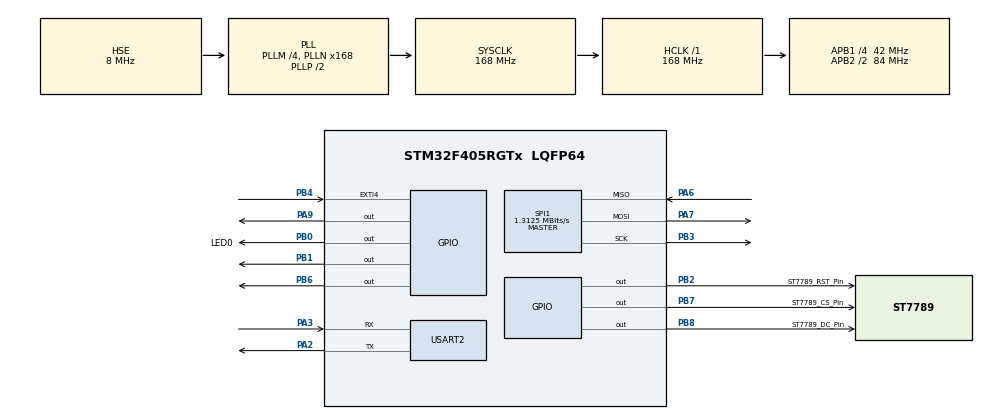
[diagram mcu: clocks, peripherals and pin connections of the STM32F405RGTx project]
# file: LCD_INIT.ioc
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ADC1.Channel-0\#ChannelRegularConversion=ADC_CHANNEL_TEMPSENSOR
ADC1.Channel-1\#ChannelRegularConversion=ADC_CHANNEL_TEMPSENSOR
ADC1.NbrOfConversion=2
ADC1.NbrOfConversionFlag=1
ADC1.Rank-0\#ChannelRegularConversion=1
ADC1.Rank-1\#ChannelRegularConversion=2
ADC1.SamplingTime-0\#ChannelRegularConversion=ADC_SAMPLETIME_84CYCLES
ADC1.SamplingTime-1\#ChannelRegularConversion=ADC_SAMPLETIME_84CYCLES
ADC1.master=1
Dma.Request0=SPI1_TX
Dma.Request1=SPI1_RX
Dma.SPI1_RX.1.Direction=DMA_PERIPH_TO_MEMORY
Dma.SPI1_RX.1.FIFOMode=DMA_FIFOMODE_DISABLE
Dma.SPI1_RX.1.Instance=DMA2_Stream0
Dma.SPI1_RX.1.MemDataAlignment=DMA_MDATAALIGN_BYTE
Dma.SPI1_RX.1.MemInc=DMA_MINC_ENABLE
Dma.SPI1_RX.1.Mode=DMA_NORMAL
Dma.SPI1_RX.1.PeriphDataAlignment=DMA_PDATAALIGN_BYTE
Dma.SPI1_RX.1.PeriphInc=DMA_PINC_DISABLE
Dma.SPI1_RX.1.Priority=DMA_PRIORITY_LOW
Dma.SPI1_TX.0.Direction=DMA_MEMORY_TO_PERIPH
Dma.SPI1_TX.0.FIFOMode=DMA_FIFOMODE_DISABLE
Dma.SPI1_TX.0.Instance=DMA2_Stream3
Dma.SPI1_TX.0.MemDataAlignment=DMA_MDATAALIGN_BYTE
Dma.SPI1_TX.0.MemInc=DMA_MINC_ENABLE
Dma.SPI1_TX.0.Mode=DMA_NORMAL
Dma.SPI1_TX.0.PeriphDataAlignment=DMA_PDATAALIGN_BYTE
Dma.SPI1_TX.0.PeriphInc=DMA_PINC_DISABLE
Dma.SPI1_TX.0.Priority=DMA_PRIORITY_LOW
FREERTOS.Tasks01=defaultTask,0,128,StartDefaultTask,Default,NULL,Dynamic,NULL,NULL;Temp,-3,128,StartTask01,Default,NULL,Dynamic,NULL,NULL;LCD,-3,128,StartTask02,Default,NULL,Dynamic,NULL,NULL;Sound,-3,128,StartTask03,Default,NULL,Dynamic,NULL,NULL
Mcu.Family=STM32F4
Mcu.Name=STM32F405RGTx
Mcu.Package=LQFP64
NVIC.DMA2_Stream0_IRQn=true\:5\:0\:false\:false\:true\:true\:false\:true\:true
NVIC.DMA2_Stream3_IRQn=true\:5\:0\:false\:false\:true\:true\:false\:true\:true
NVIC.EXTI4_IRQn=true\:5\:0\:false\:false\:true\:true\:true\:true\:true
NVIC.PriorityGroup=NVIC_PRIORITYGROUP_4
NVIC.USART2_IRQn=true\:5\:0\:false\:false\:true\:true\:true\:true\:true
PA13.Mode=Serial_Wire
PA13.Signal=SYS_JTMS-SWDIO
PA14.Mode=Serial_Wire
PA14.Signal=SYS_JTCK-SWCLK
PA2.Mode=Asynchronous
PA2.Signal=USART2_TX
PA3.Mode=Asynchronous
PA3.Signal=USART2_RX
PA6.GPIO_PuPd=GPIO_PULLUP
PA6.Mode=Full_Duplex_Master
PA6.Signal=SPI1_MISO
PA7.GPIO_PuPd=GPIO_PULLUP
PA7.Mode=Full_Duplex_Master
PA7.Signal=SPI1_MOSI
PA9.GPIO_PuPd=GPIO_PULLUP
PA9.GPIO_Speed=GPIO_SPEED_FREQ_HIGH
PA9.PinState=GPIO_PIN_SET
PA9.Signal=GPIO_Output
PB0.GPIO_Label=LED0
PB0.PinState=GPIO_PIN_RESET
PB0.Signal=GPIO_Output
PB1.PinState=GPIO_PIN_RESET
PB1.Signal=GPIO_Output
PB2.GPIO_Label=ST7789_RST_Pin
PB2.PinState=GPIO_PIN_SET
PB2.Signal=GPIO_Output
PB3.GPIO_PuPd=GPIO_PULLUP
PB3.Mode=Full_Duplex_Master
PB3.Signal=SPI1_SCK
PB4.GPIO_PuPd=GPIO_PULLUP
PB4.Signal=GPXTI4
PB6.GPIO_Speed=GPIO_SPEED_FREQ_MEDIUM
PB6.PinState=GPIO_PIN_SET
PB6.Signal=GPIO_Output
PB7.GPIO_Label=ST7789_CS_Pin
PB7.GPIO_Speed=GPIO_SPEED_FREQ_MEDIUM
PB7.PinState=GPIO_PIN_SET
PB7.Signal=GPIO_Output
PB8.GPIO_Label=ST7789_DC_Pin
PB8.Signal=GPIO_Output
PH0-OSC_IN.Mode=HSE-External-Oscillator
PH0-OSC_IN.Signal=RCC_OSC_IN
PH1-OSC_OUT.Mode=HSE-External-Oscillator
PH1-OSC_OUT.Signal=RCC_OSC_OUT
ProjectManager.HeapSize=0x2000
ProjectManager.StackSize=0x4000
ProjectManager.TargetToolchain=STM32CubeIDE
RCC.48MHZClocksFreq_Value=84000000
RCC.AHBFreq_Value=168000000
RCC.APB1CLKDivider=RCC_HCLK_DIV4
RCC.APB1Freq_Value=42000000
RCC.APB1TimFreq_Value=84000000
RCC.APB2CLKDivider=RCC_HCLK_DIV2
RCC.APB2Freq_Value=84000000
RCC.APB2TimFreq_Value=168000000
RCC.CortexFreq_Value=168000000
RCC.HCLKFreq_Value=168000000
RCC.HSE_VALUE=8000000
RCC.HSI_VALUE=16000000
RCC.LSE_VALUE=32768
RCC.PLLM=4
RCC.PLLN=168
RCC.PLLSourceVirtual=RCC_PLLSOURCE_HSE
RCC.SYSCLKFreq_VALUE=168000000
RCC.SYSCLKSource=RCC_SYSCLKSOURCE_PLLCLK
RCC.VCOOutputFreq_Value=336000000
SPI1.BaudRatePrescaler=SPI_BAUDRATEPRESCALER_64
SPI1.CLKPolarity=SPI_POLARITY_LOW
SPI1.CalculateBaudRate=1.3125 MBits/s
SPI1.DataSize=SPI_DATASIZE_8BIT
SPI1.Direction=SPI_DIRECTION_2LINES
SPI1.Mode=SPI_MODE_MASTER
SPI1.VirtualType=VM_MASTER
USART2.VirtualMode=VM_ASYNC
VP_ADC1_TempSens_Input.Mode=IN-TempSens
VP_ADC1_Vref_Input.Mode=IN-Vrefint
VP_FREERTOS_VS_CMSIS_V1.Mode=CMSIS_V1
board=custom

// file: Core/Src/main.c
/* USER CODE BEGIN Header */
/**
 ******************************************************************************
 * @file           : main.c
 * @brief          : Main program body
 ******************************************************************************
 * @attention
 *
 * Copyright (c) 2024 STMicroelectronics.
 * All rights reserved.
 *
 * This software is licensed under terms that can be found in the LICENSE file
 * in the root directory of this software component.
 * If no LICENSE file comes with this software, it is provided AS-IS.
 *
 ******************************************************************************
 */
/* USER CODE END Header */
#include "main.h"
#include "cmsis_os.h"
#include "adc.h"
#include "dma.h"
#include "spi.h"
#include "usart.h"
#include "gpio.h"

/* USER CODE BEGIN Includes */
#include "st7789.h"
#include "XPT2046_touch.h"
/* USER CODE END Includes */

void SystemClock_Config(void);
void MX_FREERTOS_Init(void);

int main(void)
{

  /* MCU Configuration--------------------------------------------------------*/

  /* Reset of all peripherals, Initializes the Flash interface and the Systick. */
  HAL_Init();

  /* Configure the system clock */
  SystemClock_Config();

  /* Initialize all configured peripherals */
  MX_GPIO_Init();
  MX_DMA_Init();
  MX_SPI1_Init();
  MX_ADC1_Init();
  MX_USART2_UART_Init();
  /* USER CODE BEGIN 2 */
  ST7789_Init();
  /* USER CODE END 2 */

  /* Call init function for freertos objects (in cmsis_os2.c) */
  MX_FREERTOS_Init();

  /* Start scheduler */
  osKernelStart();

  /* We should never get here as control is now taken by the scheduler */

  /* Infinite loop */
  /* USER CODE BEGIN WHILE */

//	ST7789_Test();   //test lcd
//	ST7789_WriteString(120, 160, "Touch pin", Font_11x18, RED, WHITE);
	while (1) {
    /* USER CODE END WHILE */

    /* USER CODE BEGIN 3 */

		// test touch pin

	}
  /* USER CODE END 3 */
}

void SystemClock_Config(void)
{
  RCC_OscInitTypeDef RCC_OscInitStruct = {0};
  RCC_ClkInitTypeDef RCC_ClkInitStruct = {0};

  /** Configure the main internal regulator output voltage
  */
  __HAL_RCC_PWR_CLK_ENABLE();
  __HAL_PWR_VOLTAGESCALING_CONFIG(PWR_REGULATOR_VOLTAGE_SCALE1);

  /** Initializes the RCC Oscillators according to the specified parameters
  * in the RCC_OscInitTypeDef structure.
  */
  RCC_OscInitStruct.OscillatorType = RCC_OSCILLATORTYPE_HSE;
  RCC_OscInitStruct.HSEState = RCC_HSE_ON;
  RCC_OscInitStruct.PLL.PLLState = RCC_PLL_ON;
  RCC_OscInitStruct.PLL.PLLSource = RCC_PLLSOURCE_HSE;
  RCC_OscInitStruct.PLL.PLLM = 4;
  RCC_OscInitStruct.PLL.PLLN = 168;
  RCC_OscInitStruct.PLL.PLLP = RCC_PLLP_DIV2;
  RCC_OscInitStruct.PLL.PLLQ = 4;
  if (HAL_RCC_OscConfig(&RCC_OscInitStruct) != HAL_OK)
  {
    Error_Handler();
  }

  /** Initializes the CPU, AHB and APB buses clocks
  */
  RCC_ClkInitStruct.ClockType = RCC_CLOCKTYPE_HCLK|RCC_CLOCKTYPE_SYSCLK
                              |RCC_CLOCKTYPE_PCLK1|RCC_CLOCKTYPE_PCLK2;
  RCC_ClkInitStruct.SYSCLKSource = RCC_SYSCLKSOURCE_PLLCLK;
  RCC_ClkInitStruct.AHBCLKDivider = RCC_SYSCLK_DIV1;
  RCC_ClkInitStruct.APB1CLKDivider = RCC_HCLK_DIV4;
  RCC_ClkInitStruct.APB2CLKDivider = RCC_HCLK_DIV2;

  if (HAL_RCC_ClockConfig(&RCC_ClkInitStruct, FLASH_LATENCY_5) != HAL_OK)
  {
    Error_Handler();
  }
}

void Error_Handler(void)
{
	__disable_irq();
	while (1) {
	}
}

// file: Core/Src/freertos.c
/* USER CODE BEGIN Header */
/**
  ******************************************************************************
  * File Name          : freertos.c
  * Description        : Code for freertos applications
  ******************************************************************************
  * @attention
  *
  * Copyright (c) 2025 STMicroelectronics.
  * All rights reserved.
  *
  * This software is licensed under terms that can be found in the LICENSE file
  * in the root directory of this software component.
  * If no LICENSE file comes with this software, it is provided AS-IS.
  *
  ******************************************************************************
  */
/* USER CODE END Header */

#include "FreeRTOS.h"
#include "task.h"
#include "main.h"
#include "cmsis_os.h"

/* USER CODE BEGIN Includes */
#include <stdio.h>
#include "adc.h"
#include "st7789.h"
#include "fonts.h"
#include "usart.h"
/* USER CODE END Includes */

/* USER CODE BEGIN PTD */
#define ADC_RESOLUTION 4095
#define ADC_SAMPLES 100
#define TS_CAL1 *((uint16_t*)0x1FFF7A2C) // Factory calibration value at 30°C
#define TS_CAL2 *((uint16_t*)0x1FFF7A2E) // Factory calibration value at 110°C

#define VREFINT_CAL_ADDR ((uint16_t*)0x1FFF7A2A)
#define RX_BUFFER_SIZE 21  // 20 ký tự + 1 ký tự null
static uint8_t rx_buffer[RX_BUFFER_SIZE];
static uint8_t rx_index = 0;

//#define VREFINT_CAL_ADDR ((uint16_t*)0x1FFF7A2A) // Address for VREFINT_CAL

/* USER CODE END PTD */

/* USER CODE BEGIN PD */
float temperature = 0.0f;
float vdda = 3.3f; // Supply voltage, will be calculated using VREFINT

uint16_t adc_buffer[ADC_SAMPLES * 2 * 2] = { 0 };

osMessageQId uartQueueHandle;

void TurnOffLCD(void)
{
    ST7789_Fill_Color(BLACK); // Đặt toàn màn hình thành màu đen
}

void EnterSleepMode(void)
{
    HAL_PWR_EnterSLEEPMode(PWR_MAINREGULATOR_ON, PWR_SLEEPENTRY_WFI); // Chế độ Sleep
}

static void ReadTemperature(void)
{
  uint32_t adc_temp, adc_vref;

  // Read VREFINT channel
  ADC_ChannelConfTypeDef sConfig = {0};
  sConfig.Channel = ADC_CHANNEL_VREFINT;
  sConfig.Rank = 1;
  sConfig.SamplingTime = ADC_SAMPLETIME_480CYCLES;
  HAL_ADC_ConfigChannel(&hadc1, &sConfig);
  HAL_ADC_Start(&hadc1);
  HAL_ADC_PollForConversion(&hadc1, HAL_MAX_DELAY);
  adc_vref = HAL_ADC_GetValue(&hadc1);
  HAL_ADC_Stop(&hadc1);

  // Calculate VDDA
  vdda = 3.3f * ((float)(*VREFINT_CAL_ADDR) / (float)adc_vref);

  // Read Temperature channel
  sConfig.Channel = ADC_CHANNEL_TEMPSENSOR;
  HAL_ADC_ConfigChannel(&hadc1, &sConfig);
  HAL_ADC_Start(&hadc1);
  HAL_ADC_PollForConversion(&hadc1, HAL_MAX_DELAY);
  adc_temp = HAL_ADC_GetValue(&hadc1);
  HAL_ADC_Stop(&hadc1);

  // Calculate temperature
  float ts_voltage = ((float)adc_temp * vdda) / ADC_RESOLUTION;
  temperature = ((ts_voltage - 0.76f) / 0.0025f) + 25.0f;
}
/* USER CODE END PD */

osThreadId defaultTaskHandle;
osThreadId TempHandle;
osThreadId LCDHandle;
osThreadId SoundHandle;

void StartDefaultTask(void const * argument);
void StartTask01(void const * argument);
void StartTask02(void const * argument);
void StartTask03(void const * argument);

void MX_FREERTOS_Init(void); /* (MISRA C 2004 rule 8.1) */

/* GetIdleTaskMemory prototype (linked to static allocation support) */
void vApplicationGetIdleTaskMemory( StaticTask_t **ppxIdleTaskTCBBuffer, StackType_t **ppxIdleTaskStackBuffer, uint32_t *pulIdleTaskStackSize );

/* USER CODE BEGIN GET_IDLE_TASK_MEMORY */
static StaticTask_t xIdleTaskTCBBuffer;
static StackType_t xIdleStack[configMINIMAL_STACK_SIZE];

void vApplicationGetIdleTaskMemory( StaticTask_t **ppxIdleTaskTCBBuffer, StackType_t **ppxIdleTaskStackBuffer, uint32_t *pulIdleTaskStackSize )
{
  *ppxIdleTaskTCBBuffer = &xIdleTaskTCBBuffer;
  *ppxIdleTaskStackBuffer = &xIdleStack[0];
  *pulIdleTaskStackSize = configMINIMAL_STACK_SIZE;
  /* place for user code */
}
/* USER CODE END GET_IDLE_TASK_MEMORY */

void MX_FREERTOS_Init(void) {

  /* USER CODE BEGIN RTOS_QUEUES */

	osMessageQDef(uartQueue, 20, char*); // Hàng đợi chứa con trỏ chuỗi
	uartQueueHandle = osMessageCreate(osMessageQ(uartQueue), NULL);

  /* add queues, ... */
  /* USER CODE END RTOS_QUEUES */

  /* Create the thread(s) */
  /* definition and creation of defaultTask */
  osThreadDef(defaultTask, StartDefaultTask, osPriorityNormal, 0, 128);
  defaultTaskHandle = osThreadCreate(osThread(defaultTask), NULL);

  /* definition and creation of Temp */
  osThreadDef(Temp, StartTask01, osPriorityIdle, 0, 128);
  TempHandle = osThreadCreate(osThread(Temp), NULL);

  /* definition and creation of LCD */
  osThreadDef(LCD, StartTask02, osPriorityIdle, 0, 128);
  LCDHandle = osThreadCreate(osThread(LCD), NULL);

  /* definition and creation of Sound */
  osThreadDef(Sound, StartTask03, osPriorityIdle, 0, 128);
  SoundHandle = osThreadCreate(osThread(Sound), NULL);

}

/* USER CODE BEGIN Header_StartDefaultTask */
void HAL_UART_RxCpltCallback(UART_HandleTypeDef *huart)
{
    static uint8_t rx_data; // Biến nhận ký tự mới nhất

    if (huart->Instance == USART2) // Xử lý UART2
    {
        if (rx_data == '\n' || rx_data == '\r') // Ký tự kết thúc chuỗi
        {
            rx_buffer[rx_index] = '\0'; // Thêm ký tự kết thúc chuỗi
            xQueueSendFromISR(uartQueueHandle, rx_buffer, NULL); // Gửi toàn bộ chuỗi vào hàng đợi
            rx_index = 0; // Reset chỉ số buffer
        }
        else if (rx_index < RX_BUFFER_SIZE - 1) // Chỉ thêm ký tự nếu còn không gian
        {
            rx_buffer[rx_index++] = rx_data; // Lưu ký tự vào buffer
        }

        // Tiếp tục nhận ký tự tiếp theo
        HAL_UART_Receive_IT(&huart2, &rx_data, 1); // Khởi động nhận ký tự tiếp theo
    }
}

/**
  * @brief  Function implementing the defaultTask thread.
  * @param  argument: Not used
  * @retval None
  */
/* USER CODE END Header_StartDefaultTask */
void StartDefaultTask(void const * argument)
{
  for(;;)
  {
    osDelay(1);
  }
}

void StartTask01(void const * argument)
{
  /* USER CODE BEGIN StartTask01 */
  /* Infinite loop */
  for(;;)
  {

	HAL_GPIO_TogglePin(GPIOB, LED0_Pin);
    osDelay(1500);
  }
  /* USER CODE END StartTask01 */
}

void StartTask02(void const * argument)
{
  for(;;)
  {
    osDelay(1);
  }
}

void StartTask03(void const * argument)
{
  for(;;)
  {
    osDelay(1);
  }
}
